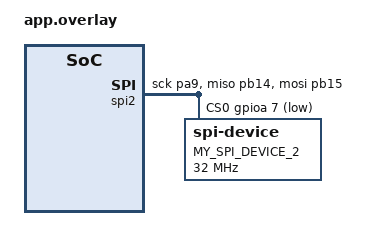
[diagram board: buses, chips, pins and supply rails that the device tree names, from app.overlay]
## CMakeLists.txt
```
cmake_minimum_required(VERSION 3.20.0)

find_package(Zephyr)
#find_package(Zephyr REQUIRED HINTS $ENV{ZEPHYR_BASE})
project(spi)

target_sources(app PRIVATE src/main.c)
```

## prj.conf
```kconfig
CONFIG_PRINTK=y;
CONFIG_SPI=y;
```

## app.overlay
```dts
&spi1 {
    cs-gpios = <&gpioa 7 GPIO_ACTIVE_LOW>;
    //clocks = < &rcc STM32_CLOCK_BUS_APB2 0x1000 >;
};

&spi2 {
    pinctrl-0 = < &spi2_sck_pa9 &spi2_miso_pb14 &spi2_mosi_pb15 >;
    pinctrl-names = "default";
    cs-gpios = <&gpioa 7 GPIO_ACTIVE_LOW>;
    status = "okay";
    my_spi_device_2: myspidev@1 {
        compatible = "zephyr,spi-device";
        reg = <0>;
        spi-max-frequency = <32000000>;
        label = "MY_SPI_DEVICE_2";
    };
};

&clk_hsi{
    status = "okay";
};

&rcc{
    clocks = < &clk_hsi >;
    clock-frequency = < 0x3d09000 >;
    d1cpre = < 0x1 >;
    hpre = < 0x4 >;
    d1ppre = < 0x1 >;
    d2ppre1 = < 0x1 >;
    d2ppre2 = < 0x1 >;
    d3ppre = < 0x1 >;
};
```

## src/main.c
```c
#include <zephyr/kernel.h>

#include <zephyr/device.h>
#include <zephyr/devicetree.h>
#include <zephyr/drivers/spi.h>

int main(){

	const struct device *const dev = DEVICE_DT_GET(DT_NODELABEL(spi1));
    
	if (!device_is_ready(dev)) {
		printk("%s: device not ready.\n", dev->name);
		// return 0;
	}

    struct spi_config config = {
    .frequency = 8000000,
    .operation = SPI_OP_MODE_MASTER | SPI_WORD_SET(8),
    .slave = 0,
    .cs = NULL,  // <-- key change
    };

    uint16_t rx_cnt = 0;

    while(1){
        
        enum { datacount = 5 };

        uint8_t buff[datacount] = { 'D', 'A', 'N', 'K', 'E'};
        // uint8_t buff[datacount] = { 1, 1, 1, 1, 1};
        uint8_t rxdata[datacount]={0};

        struct spi_buf tx_buf[1] = {
            {.buf = buff, .len = datacount},
        };
        struct spi_buf rx_buf[1] = {
            {.buf = rxdata, .len = datacount},
        };

        
        struct spi_buf_set tx_set = { .buffers = tx_buf, .count = 1 };
        struct spi_buf_set rx_set = { .buffers = rx_buf, .count = 1 };

        int ret = spi_transceive(dev, &config, &tx_set, &rx_set);
        
        printk("rx %d : %c %c %c %c %c\n",++rx_cnt, rxdata[0], rxdata[1], rxdata[2], rxdata[3], rxdata[4]);

    }
}
```
